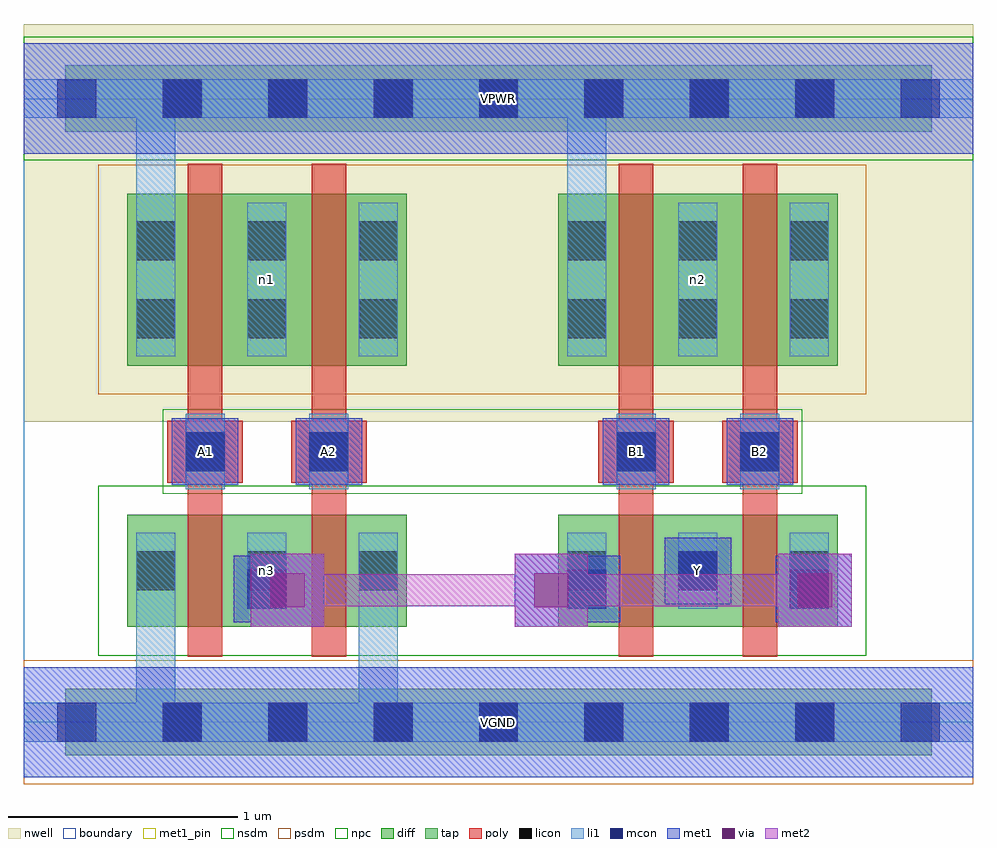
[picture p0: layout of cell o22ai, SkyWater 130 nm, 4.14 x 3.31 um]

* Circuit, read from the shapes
.subckt o22ai A1 A2 B1 B2 VGND VPWR Y n1 n2 n3
XM1 n3 A1 VGND VGND sky130_fd_pr__nfet_01v8 w=0.49 l=0.15
XM2 VGND A2 n3 VGND sky130_fd_pr__nfet_01v8 w=0.49 l=0.15
XM3 Y B1 n3 VGND sky130_fd_pr__nfet_01v8 w=0.49 l=0.15
XM4 n3 B2 Y VGND sky130_fd_pr__nfet_01v8 w=0.49 l=0.15
XM5 n1 A1 VPWR VPWR sky130_fd_pr__pfet_01v8 w=0.75 l=0.15
XM6 n4 A2 n1 VPWR sky130_fd_pr__pfet_01v8 w=0.75 l=0.15
XM7 n2 B1 VPWR VPWR sky130_fd_pr__pfet_01v8 w=0.75 l=0.15
XM8 n5 B2 n2 VPWR sky130_fd_pr__pfet_01v8 w=0.75 l=0.15
.ends

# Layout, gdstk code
import gdstk
lib = gdstk.Library(unit=1e-6, precision=1e-09)
def R(c, l, rs):  # rectangles x0, y0, x1, y1
    for r in rs: c.add(gdstk.rectangle(r[:2], r[2:], *l))
def A(c, l, x, y, w, h, nx, ny, dx, dy):  # array of equal rectangles
    R(c, l, [(x+i*dx, y+j*dy, x+i*dx+w, y+j*dy+h) for i in range(nx) for j in range(ny)])
nwell = (64, 20)
diff = (65, 20)
tap = (65, 44)
poly = (66, 20)
licon = (66, 44)
li1 = (67, 20)
mcon = (67, 44)
met1_pin = (68, 16)
met1 = (68, 20)
via = (68, 44)
met2 = (69, 20)
nsdm = (93, 44)
psdm = (94, 20)
npc = (95, 20)
boundary = (235, 4)

o22ai = lib.new_cell('o22ai')
R(o22ai, nwell, [(0,1.31,4.14,3.045)])
R(o22ai, diff, [(0.45,0.415,1.67,0.905), (2.33,0.415,3.55,0.905), (0.45,1.555,1.67,2.305), (2.33,1.555,3.55,2.305)])
R(o22ai, tap, [(0.18,-0.145,3.96,0.145), (0.18,2.575,3.96,2.865)])
R(o22ai, poly, [(0.715,0.285,0.865,2.435), (1.255,0.285,1.405,2.435), (2.595,0.285,2.745,2.435), (3.135,0.285,3.285,2.435), (0.625,1.045,0.955,1.315), (1.165,1.045,1.495,1.315), (2.505,1.045,2.835,1.315), (3.045,1.045,3.375,1.315)])
A(o22ai, licon, 0.605, -0.085, 0.17, 0.17, 7, 2, 0.46, 2.72)
A(o22ai, licon, 0.49, 0.575, 0.17, 0.17, 3, 2, 0.485, 1.1)
A(o22ai, licon, 2.37, 0.575, 0.17, 0.17, 3, 2, 0.485, 1.1)
A(o22ai, licon, 0.49, 2.015, 0.17, 0.17, 3, 1, 0.485, 0)
A(o22ai, licon, 2.37, 2.015, 0.17, 0.17, 3, 1, 0.485, 0)
R(o22ai, licon, [(0.705,1.095,0.875,1.265), (1.245,1.095,1.415,1.265), (2.585,1.095,2.755,1.265), (3.125,1.095,3.295,1.265)])
A(o22ai, li1, 0.49, 0.495, 0.17, 0.33, 3, 1, 0.485, 0)
A(o22ai, li1, 2.37, 0.495, 0.17, 0.33, 3, 1, 0.485, 0)
A(o22ai, li1, 0.49, 1.595, 0.17, 0.67, 3, 1, 0.485, 0)
A(o22ai, li1, 2.37, 1.595, 0.17, 0.67, 3, 1, 0.485, 0)
R(o22ai, li1, [(0,-0.085,4.14,0.085), (0.49,-0.085,0.66,0.825), (1.46,-0.085,1.63,0.825), (0.705,1.015,0.875,1.345), (1.245,1.015,1.415,1.345), (2.585,1.015,2.755,1.345), (3.125,1.015,3.295,1.345), (0.49,1.595,0.66,2.805), (2.37,1.595,2.54,2.805), (0,2.635,4.14,2.805)])
A(o22ai, mcon, 0.145, -0.085, 0.17, 0.17, 9, 2, 0.46, 2.72)
R(o22ai, mcon, [(0.975,0.495,1.145,0.665), (2.37,0.495,2.54,0.665), (3.34,0.495,3.51,0.665), (2.855,0.575,3.025,0.745), (0.705,1.095,0.875,1.265), (1.245,1.095,1.415,1.265), (2.585,1.095,2.755,1.265), (3.125,1.095,3.295,1.265)])
R(o22ai, met1_pin, [(0,-0.24,4.14,0.24), (2.795,0.515,3.085,0.805), (0.645,1.035,0.935,1.325), (1.185,1.035,1.475,1.325), (2.525,1.035,2.815,1.325), (3.065,1.035,3.355,1.325), (0,2.48,4.14,2.96)])
A(o22ai, met1, 0.99, 0.415, 0.32, 0.32, 3, 1, 1.15, 0)
A(o22ai, met1, 1.08, 0.505, 0.14, 0.145, 3, 1, 1.15, 0)
R(o22ai, met1, [(0,-0.24,4.14,0.24), (0.915,0.435,1.205,0.725), (2.31,0.435,2.6,0.725), (3.28,0.435,3.57,0.725), (0.99,0.51,1.22,0.65), (2.23,0.51,2.525,0.65), (3.355,0.51,3.52,0.65), (2.795,0.515,3.085,0.805), (0.645,1.035,0.935,1.325), (1.185,1.035,1.475,1.325), (2.525,1.035,2.815,1.325), (3.065,1.035,3.355,1.325), (0,2.48,4.14,2.96)])
A(o22ai, via, 1.075, 0.5, 0.15, 0.15, 3, 1, 1.15, 0)
A(o22ai, met2, 0.99, 0.415, 0.32, 0.32, 3, 1, 1.15, 0)
R(o22ai, met2, [(1.08,0.505,2.37,0.645), (2.23,0.505,3.52,0.645)])
R(o22ai, nsdm, [(0.325,0.29,3.675,1.03), (0,2.45,4.14,2.99)])
R(o22ai, psdm, [(0,-0.27,4.14,0.27), (0.325,1.43,3.675,2.43)])
R(o22ai, npc, [(0.605,0.995,3.395,1.365)])
R(o22ai, boundary, [(0,0,4.14,2.72)])
o22ai.add(gdstk.Label('n3', (1.06,0.66), layer=67, texttype=5))
o22ai.add(gdstk.Label('n1', (1.06,1.93), layer=67, texttype=5))
o22ai.add(gdstk.Label('n2', (2.94,1.93), layer=67, texttype=5))
o22ai.add(gdstk.Label('A1', (0.79,1.18), layer=68, texttype=5))
o22ai.add(gdstk.Label('A2', (1.33,1.18), layer=68, texttype=5))
o22ai.add(gdstk.Label('B1', (2.67,1.18), layer=68, texttype=5))
o22ai.add(gdstk.Label('B2', (3.21,1.18), layer=68, texttype=5))
o22ai.add(gdstk.Label('Y', (2.94,0.66), layer=68, texttype=5))
o22ai.add(gdstk.Label('VPWR', (2.07,2.72), layer=68, texttype=5))
o22ai.add(gdstk.Label('VGND', (2.07,0), layer=68, texttype=5))
o22ai.add(gdstk.Label('A1', (0.79,1.18), layer=68, texttype=16))
o22ai.add(gdstk.Label('A2', (1.33,1.18), layer=68, texttype=16))
o22ai.add(gdstk.Label('B1', (2.67,1.18), layer=68, texttype=16))
o22ai.add(gdstk.Label('B2', (3.21,1.18), layer=68, texttype=16))
o22ai.add(gdstk.Label('Y', (2.94,0.66), layer=68, texttype=16))
o22ai.add(gdstk.Label('VPWR', (2.07,2.72), layer=68, texttype=16))
o22ai.add(gdstk.Label('VGND', (2.07,0), layer=68, texttype=16))

lib.write_gds('o22ai.gds')
